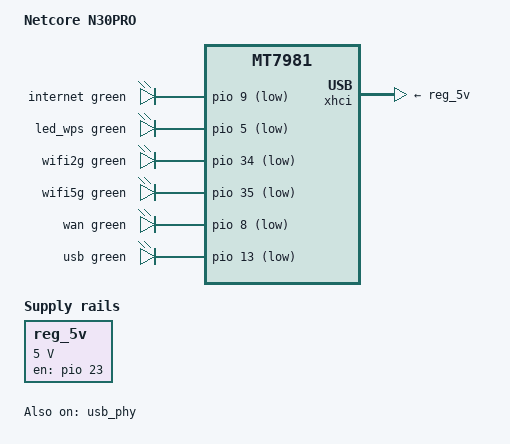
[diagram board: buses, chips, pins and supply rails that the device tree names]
/* SPDX-License-Identifier: (GPL-2.0-only OR MIT) */

/dts-v1/;
#include "mt7981b-netis-common.dtsi"

/ {
	model = "Netcore N30PRO";
	compatible = "netcore,n30pro", "mediatek,mt7981";

	aliases {
		label-mac-device = &gmac0;
		led-boot = &led_wps;
		led-failsafe = &led_wps;
		led-running = &led_wps;
		led-upgrade = &led_wps;
	};

	leds {
		compatible = "gpio-leds";

		internet {
			color = <LED_COLOR_ID_GREEN>;
			function = LED_FUNCTION_WAN_ONLINE;
			gpios = <&pio 9 GPIO_ACTIVE_LOW>;
		};

		led_wps: wps {
			color = <LED_COLOR_ID_GREEN>;
			function = LED_FUNCTION_WPS;
			gpios = <&pio 5 GPIO_ACTIVE_LOW>;
		};

		wifi2g {
			color = <LED_COLOR_ID_GREEN>;
			function = LED_FUNCTION_WLAN_2GHZ;
			gpios = <&pio 34 GPIO_ACTIVE_LOW>;
			linux,default-trigger = "phy0tpt";
		};

		wifi5g {
			color = <LED_COLOR_ID_GREEN>;
			function = LED_FUNCTION_WLAN_5GHZ;
			gpios = <&pio 35 GPIO_ACTIVE_LOW>;
			linux,default-trigger = "phy1tpt";
		};

		wan {
			color = <LED_COLOR_ID_GREEN>;
			function = LED_FUNCTION_WAN;
			gpios = <&pio 8 GPIO_ACTIVE_LOW>;
		};

		usb {
			color = <LED_COLOR_ID_GREEN>;
			function = LED_FUNCTION_USB;
			gpios = <&pio 13 GPIO_ACTIVE_LOW>;
		};
	};

	reg_5v: regulator-5v {
		compatible = "regulator-fixed";
		regulator-name = "fixed-5V";
		regulator-min-microvolt = <5000000>;
		regulator-max-microvolt = <5000000>;
		gpio = <&pio 23 GPIO_ACTIVE_HIGH>;
		enable-active-high;
	};
};

&switch {
	ports {
		port@0 {
			reg = <0>;
			label = "lan1";
		};
		port@1 {
			reg = <1>;
			label = "lan2";
		};

		port@2 {
			reg = <2>;
			label = "lan3";
		};

		port@3 {
			reg = <3>;
			label = "lan4";
		};
	};
};

&usb_phy {
	status = "okay";
};

&xhci {
	vbus-supply = <&reg_5v>;
	status = "okay";
};
